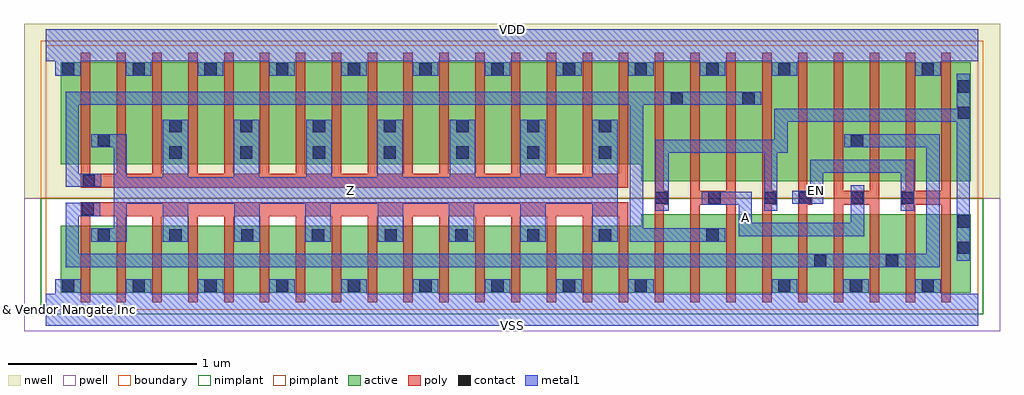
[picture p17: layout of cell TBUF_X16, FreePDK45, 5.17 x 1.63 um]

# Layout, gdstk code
import gdstk
lib = gdstk.Library(unit=1e-6, precision=1e-10)
def R(c, l, rs):  # rectangles x0, y0, x1, y1
    for r in rs: c.add(gdstk.rectangle(r[:2], r[2:], *l))
def A(c, l, x, y, w, h, nx, ny, dx, dy):  # array of equal rectangles
    R(c, l, [(x+i*dx, y+j*dy, x+i*dx+w, y+j*dy+h) for i in range(nx) for j in range(ny)])
def P(c, l, *ps):  # polygons
    for p in ps: c.add(gdstk.Polygon(p, *l))
active = (1, 0)
pwell = (2, 0)
nwell = (3, 0)
nimplant = (4, 0)
pimplant = (5, 0)
poly = (9, 0)
contact = (10, 0)
metal1 = (11, 0)
boundary = (235, 0)

tbuf_x16 = lib.new_cell('TBUF_X16')
P(tbuf_x16, active, [(0.08,0.09),(0.08,0.445),(3.155,0.445),(3.155,0.505),(4.9,0.505),(4.9,0.09)],
  [(3.155,0.68),(3.155,0.77),(0.08,0.77),(0.08,1.31),(4.9,1.31),(4.9,0.68)])
R(tbuf_x16, pwell, [(-0.115,-0.115,5.055,0.59)])
R(tbuf_x16, nwell, [(-0.115,0.59,5.055,1.515)])
R(tbuf_x16, nimplant, [(-0.025,-0.025,4.965,0.59)])
R(tbuf_x16, pimplant, [(-0.025,0.59,4.965,1.425)])
P(tbuf_x16, poly, [(0.185,0.04),(0.185,0.57),(3.085,0.57),(3.085,0.04),(3.035,0.04),(3.035,0.495),(2.895,0.495),(2.895,0.04),(2.845,0.04),(2.845,0.495),(2.705,0.495),(2.705,0.04),(2.655,0.04),(2.655,0.495),(2.515,0.495),(2.515,0.04),(2.465,0.04),(2.465,0.495),(2.325,0.495),(2.325,0.04),(2.275,0.04),(2.275,0.495),(2.135,0.495),(2.135,0.04),(2.085,0.04),(2.085,0.495),(1.945,0.495),(1.945,0.04),(1.895,0.04),(1.895,0.495),(1.755,0.495),(1.755,0.04),(1.705,0.04),(1.705,0.495),(1.565,0.495),(1.565,0.04),(1.515,0.04),(1.515,0.495),(1.375,0.495),(1.375,0.04),(1.325,0.04),(1.325,0.495),(1.185,0.495),(1.185,0.04),(1.135,0.04),(1.135,0.495),(0.995,0.495),(0.995,0.04),(0.945,0.04),(0.945,0.495),(0.805,0.495),(0.805,0.04),(0.755,0.04),(0.755,0.495),(0.615,0.495),(0.615,0.04),(0.565,0.04),(0.565,0.495),(0.425,0.495),(0.425,0.04),(0.375,0.04),(0.375,0.495),(0.235,0.495),(0.235,0.04)],
  [(0.185,0.645),(0.185,1.36),(0.235,1.36),(0.235,0.72),(0.375,0.72),(0.375,1.36),(0.425,1.36),(0.425,0.72),(0.565,0.72),(0.565,1.36),(0.615,1.36),(0.615,0.72),(0.755,0.72),(0.755,1.36),(0.805,1.36),(0.805,0.72),(0.945,0.72),(0.945,1.36),(0.995,1.36),(0.995,0.72),(1.135,0.72),(1.135,1.36),(1.185,1.36),(1.185,0.72),(1.325,0.72),(1.325,1.36),(1.375,1.36),(1.375,0.72),(1.515,0.72),(1.515,1.36),(1.565,1.36),(1.565,0.72),(1.705,0.72),(1.705,1.36),(1.755,1.36),(1.755,0.72),(1.895,0.72),(1.895,1.36),(1.945,1.36),(1.945,0.72),(2.085,0.72),(2.085,1.36),(2.135,1.36),(2.135,0.72),(2.275,0.72),(2.275,1.36),(2.325,1.36),(2.325,0.72),(2.465,0.72),(2.465,1.36),(2.515,1.36),(2.515,0.72),(2.655,0.72),(2.655,1.36),(2.705,1.36),(2.705,0.72),(2.845,0.72),(2.845,1.36),(2.895,1.36),(2.895,0.72),(3.035,0.72),(3.035,1.36),(3.085,1.36),(3.085,0.645)],
  [(3.225,0.04),(3.225,1.36),(3.275,1.36),(3.275,0.63),(3.3,0.63),(3.3,0.555),(3.275,0.555),(3.275,0.04)],
  [(3.415,0.04),(3.415,1.36),(3.465,1.36),(3.465,0.63),(3.605,0.63),(3.605,1.36),(3.655,1.36),(3.655,0.04),(3.605,0.04),(3.605,0.555),(3.465,0.555),(3.465,0.04)],
  [(3.795,0.04),(3.795,1.36),(3.845,1.36),(3.845,0.63),(3.875,0.63),(3.875,0.555),(3.845,0.555),(3.845,0.04)],
  [(3.985,0.04),(3.985,1.36),(4.035,1.36),(4.035,0.63),(4.06,0.63),(4.06,0.555),(4.035,0.555),(4.035,0.04)],
  [(4.175,0.04),(4.175,1.36),(4.225,1.36),(4.225,0.63),(4.365,0.63),(4.365,1.36),(4.415,1.36),(4.415,0.04),(4.365,0.04),(4.365,0.555),(4.225,0.555),(4.225,0.04)],
  [(4.555,0.04),(4.555,0.555),(4.53,0.555),(4.53,0.63),(4.555,0.63),(4.555,1.36),(4.605,1.36),(4.605,0.63),(4.745,0.63),(4.745,1.36),(4.795,1.36),(4.795,0.04),(4.745,0.04),(4.745,0.555),(4.605,0.555),(4.605,0.04)])
A(tbuf_x16, contact, 0.46, 0.095, 0.065, 0.065, 8, 1, 0.38, 0)
A(tbuf_x16, contact, 3.88, 0.095, 0.065, 0.065, 3, 1, 0.38, 0)
A(tbuf_x16, contact, 0.275, 0.36, 0.065, 0.065, 3, 1, 0.38, 0)
A(tbuf_x16, contact, 2.17, 0.36, 0.065, 0.065, 3, 1, 0.38, 0)
A(tbuf_x16, contact, 0.46, 1.24, 0.065, 0.065, 10, 1, 0.38, 0)
R(tbuf_x16, contact, [(0.085,0.095,0.15,0.16), (4.07,0.225,4.135,0.29), (4.45,0.225,4.515,0.29), (4.83,0.295,4.895,0.36), (1.41,0.36,1.475,0.425), (1.795,0.36,1.86,0.425), (3.5,0.36,3.565,0.425), (4.83,0.435,4.895,0.5), (0.19,0.5,0.255,0.565), (3.23,0.56,3.295,0.625), (3.51,0.56,3.575,0.625), (3.805,0.56,3.87,0.625), (3.99,0.56,4.055,0.625), (4.265,0.56,4.33,0.625), (4.535,0.56,4.6,0.625), (0.195,0.65,0.26,0.715), (0.655,0.8,0.72,0.865), (1.03,0.8,1.095,0.865), (1.415,0.8,1.48,0.865), (1.79,0.8,1.855,0.865), (2.175,0.8,2.24,0.865), (2.55,0.8,2.615,0.865), (2.93,0.8,2.995,0.865), (4.265,0.86,4.33,0.925), (0.275,0.865,0.34,0.93), (0.655,0.94,0.72,1.005), (1.03,0.94,1.095,1.005), (1.415,0.94,1.48,1.005), (1.79,0.94,1.855,1.005), (2.175,0.94,2.24,1.005), (2.55,0.94,2.615,1.005), (2.93,0.94,2.995,1.005), (4.83,1.01,4.895,1.075), (3.31,1.085,3.375,1.15), (3.69,1.085,3.755,1.15), (4.83,1.15,4.895,1.215), (0.085,1.24,0.15,1.305), (4.64,1.24,4.705,1.305)])
P(tbuf_x16, metal1, [(0.24,0.36),(0.24,0.43),(0.36,0.43),(0.36,0.86),(0.24,0.86),(0.24,0.93),(0.43,0.93),(0.43,0.7),(0.62,0.7),(0.62,1.005),(0.755,1.005),(0.755,0.7),(0.995,0.7),(0.995,1.005),(1.13,1.005),(1.13,0.7),(1.38,0.7),(1.38,1.005),(1.515,1.005),(1.515,0.7),(1.755,0.7),(1.755,1.005),(1.89,1.005),(1.89,0.7),(2.14,0.7),(2.14,1.005),(2.275,1.005),(2.275,0.7),(2.515,0.7),(2.515,1.005),(2.65,1.005),(2.65,0.7),(2.895,0.7),(2.895,1.005),(3.03,1.005),(3.03,0.36),(2.895,0.36),(2.895,0.56),(2.65,0.56),(2.65,0.36),(2.515,0.36),(2.515,0.56),(2.27,0.56),(2.27,0.36),(2.135,0.36),(2.135,0.56),(1.895,0.56),(1.895,0.36),(1.76,0.36),(1.76,0.56),(1.51,0.56),(1.51,0.36),(1.375,0.36),(1.375,0.56),(1.135,0.56),(1.135,0.36),(1,0.36),(1,0.56),(0.755,0.56),(0.755,0.36),(0.62,0.36),(0.62,0.56),(0.43,0.56),(0.43,0.36)],
  [(3.095,0.36),(3.095,1.085),(0.175,1.085),(0.175,0.72),(0.295,0.72),(0.295,0.65),(0.105,0.65),(0.105,1.155),(3.79,1.155),(3.79,1.085),(3.165,1.085),(3.165,0.43),(3.6,0.43),(3.6,0.36)],
  [(3.67,0.39),(3.67,0.555),(3.475,0.555),(3.475,0.625),(3.74,0.625),(3.74,0.46),(4.265,0.46),(4.265,0.66),(4.335,0.66),(4.335,0.39)],
  [(4.53,0.525),(4.53,0.725),(4.12,0.725),(4.12,0.56),(3.955,0.56),(3.955,0.63),(4.05,0.63),(4.05,0.795),(4.6,0.795),(4.6,0.525)],
  [(0.105,0.225),(0.105,0.565),(0.29,0.565),(0.29,0.495),(0.175,0.495),(0.175,0.295),(4.665,0.295),(4.665,0.86),(4.23,0.86),(4.23,0.93),(4.735,0.93),(4.735,0.225)],
  [(4.825,0.26),(4.825,0.995),(3.93,0.995),(3.93,0.83),(3.875,0.83),(3.875,0.525),(3.805,0.525),(3.805,0.83),(3.3,0.83),(3.3,0.525),(3.23,0.525),(3.23,0.9),(3.86,0.9),(3.86,1.065),(4.825,1.065),(4.825,1.25),(4.895,1.25),(4.895,0.26)],
  [(0,-0.085),(0,0.085),(0.05,0.085),(0.05,0.16),(0.185,0.16),(0.185,0.085),(0.425,0.085),(0.425,0.16),(0.56,0.16),(0.56,0.085),(0.805,0.085),(0.805,0.16),(0.94,0.16),(0.94,0.085),(1.185,0.085),(1.185,0.16),(1.32,0.16),(1.32,0.085),(1.565,0.085),(1.565,0.16),(1.7,0.16),(1.7,0.085),(1.945,0.085),(1.945,0.16),(2.08,0.16),(2.08,0.085),(2.325,0.085),(2.325,0.16),(2.46,0.16),(2.46,0.085),(2.705,0.085),(2.705,0.16),(2.84,0.16),(2.84,0.085),(3.085,0.085),(3.085,0.16),(3.22,0.16),(3.22,0.085),(3.845,0.085),(3.845,0.16),(3.98,0.16),(3.98,0.085),(4.225,0.085),(4.225,0.16),(4.36,0.16),(4.36,0.085),(4.605,0.085),(4.605,0.16),(4.74,0.16),(4.74,0.085),(4.94,0.085),(4.94,-0.085)],
  [(0.05,1.24),(0.05,1.315),(0,1.315),(0,1.485),(4.94,1.485),(4.94,1.315),(4.74,1.315),(4.74,1.24),(4.605,1.24),(4.605,1.315),(3.98,1.315),(3.98,1.24),(3.845,1.24),(3.845,1.315),(3.6,1.315),(3.6,1.24),(3.465,1.24),(3.465,1.315),(3.22,1.315),(3.22,1.24),(3.085,1.24),(3.085,1.315),(2.84,1.315),(2.84,1.24),(2.705,1.24),(2.705,1.315),(2.46,1.315),(2.46,1.24),(2.325,1.24),(2.325,1.315),(2.08,1.315),(2.08,1.24),(1.945,1.24),(1.945,1.315),(1.7,1.315),(1.7,1.24),(1.565,1.24),(1.565,1.315),(1.32,1.315),(1.32,1.24),(1.185,1.24),(1.185,1.315),(0.94,1.315),(0.94,1.24),(0.805,1.24),(0.805,1.315),(0.56,1.315),(0.56,1.24),(0.425,1.24),(0.425,1.315),(0.185,1.315),(0.185,1.24)])
R(tbuf_x16, boundary, [(0,0,4.94,1.4)])
tbuf_x16.add(gdstk.Label('A', (3.705,0.49), layer=11, texttype=0))
tbuf_x16.add(gdstk.Label('EN', (4.085,0.63), layer=11, texttype=0))
tbuf_x16.add(gdstk.Label('VDD', (2.47,1.485), layer=11, texttype=0))
tbuf_x16.add(gdstk.Label('VSS', (2.47,-0.085), layer=11, texttype=0))
tbuf_x16.add(gdstk.Label('Z', (1.615,0.63), layer=11, texttype=0))
tbuf_x16.add(gdstk.Label('& Vendor Nangate Inc', (0,0), layer=63, texttype=63))
tbuf_x16.add(gdstk.Label('& Product Open Cell Library', (0,0), layer=63, texttype=63))
tbuf_x16.add(gdstk.Label('& Version 2010_12', (0,0), layer=63, texttype=63))
tbuf_x16.add(gdstk.Label('& Instance TBUF_X16', (0,0), layer=63, texttype=63))

lib.write_gds('TBUF_X16.gds')
